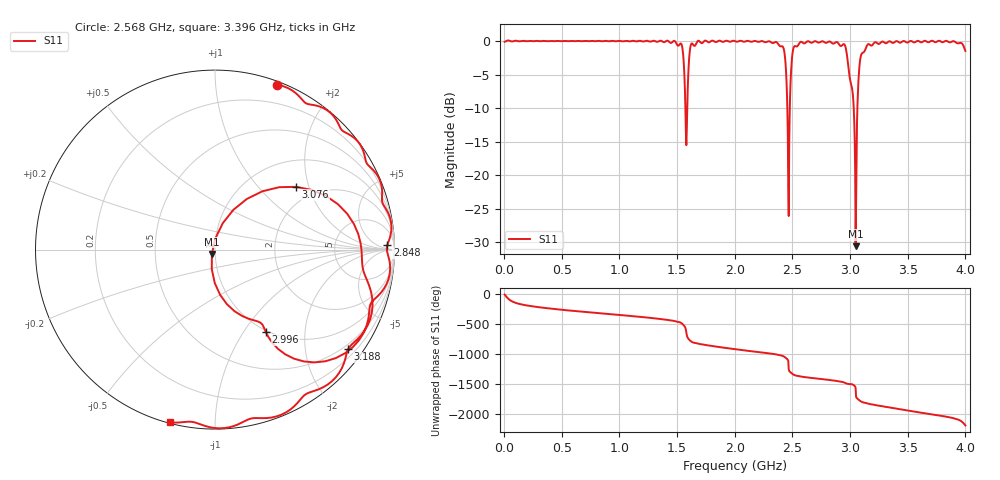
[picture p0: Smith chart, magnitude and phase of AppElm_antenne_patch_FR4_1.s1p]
! TOUCHSTONE file generated by CST MICROWAVE STUDIO
! Date and time: Tue Jun 14 12:33:43 2022
! Project name: AppElm_antenne_patch_FR4.cst
! Parameters = {L=45; W=58.5; e=0.035; h=1.6; lambda=0.190476; ls=120; w0=2.54; w1=0.6352; ws=120; y0=18; y1=23.8}
! Header version: 2018
! Port assignment regex: !\s*Touchstone port\s*([0-9]+)\s*=\s*(CST MWS port|CST DS port)\s*([0-9]+|Zmin|Zmax)\s*\(\"(.*)\"\)(\s*mode\s*([0-9]+))?.*
! Touchstone port assignment:
! Touchstone port 1 = CST MWS port 1 ("")
# GHz S MA R 50
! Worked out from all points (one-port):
!   1000 points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, 4 MHz to 4 GHz, reference 50 ohm
!   lowest |S11| = -30.6 dB at 3.048 GHz (marker M1), VSWR 1.06, Z = 48.2 - j2.32 ohm
!   |S11| at or under -10 dB: 1.572 GHz to 1.588 GHz (16.07 MHz wide, 1.02 % of centre); 2.456 GHz to 2.477 GHz (21.6 MHz wide, 0.876 % of centre); 3.032 GHz to 3.063 GHz (31.73 MHz wide, 1.04 % of centre)
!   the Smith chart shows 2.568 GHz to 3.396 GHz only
!   S11 on the Smith chart (normalised r, x): 2.568 GHz: 0.03, +1.45; 2.848 GHz: 35, +22; 2.996 GHz: 0.98, -1.27; 3.076 GHz: 1.59, +1.65; 3.188 GHz: 0.38, -2.96; 3.396 GHz: 0.00, -0.77
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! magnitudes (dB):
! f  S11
! 4 MHz  -0.1
! 504 MHz  0.0
! 1.004 GHz  0.0
! 1.504 GHz  -0.6
! 1.54 GHz  -0.6
! 1.58 GHz  -15.5
! 1.632 GHz  -0.4
! 2.004 GHz  0.0
! 2.408 GHz  -0.8
! 2.432 GHz  -1.9
! 2.452 GHz  -7.5
! 2.468 GHz  -26.1
! 2.48 GHz  -8.1
! 2.504 GHz  -1.5
! 2.568 GHz  -0.2
! 2.848 GHz  -0.4
! 2.952 GHz  -0.5
! 2.996 GHz  -5.4
! 3.004 GHz  -6.1
! 3.036 GHz  -11.9
! 3.048 GHz  -30.6
! 3.064 GHz  -9.5
! 3.076 GHz  -4.9
! 3.104 GHz  -1.8
! 3.188 GHz  -0.7
! 3.396 GHz  0.0
! 3.504 GHz  -0.2
! 4 GHz  -1.5
